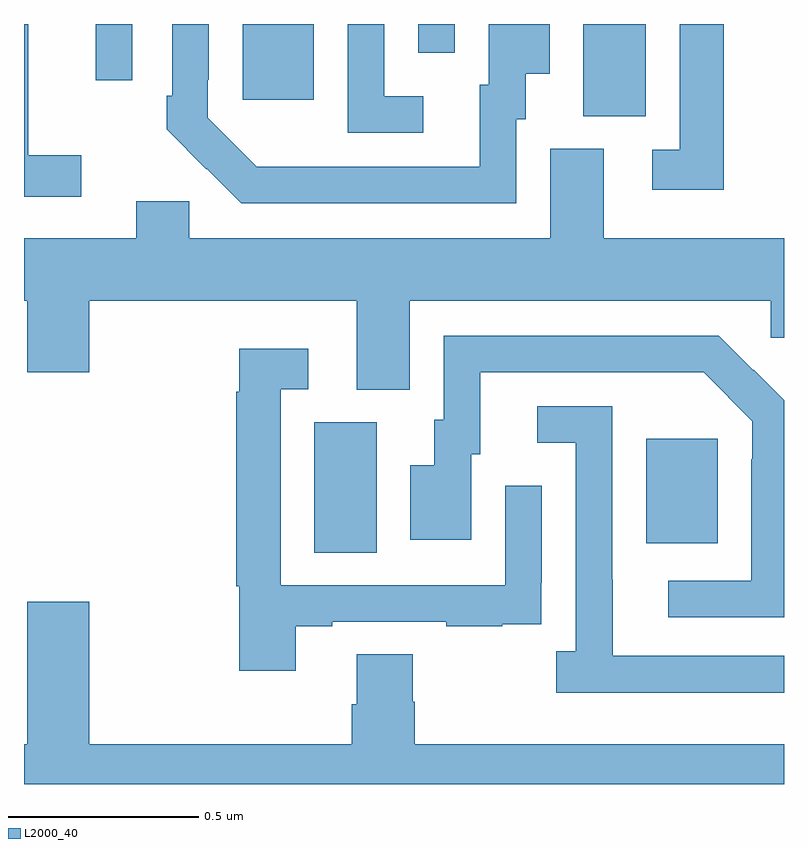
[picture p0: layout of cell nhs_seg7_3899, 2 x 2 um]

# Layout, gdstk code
import gdstk
lib = gdstk.Library(unit=1e-6, precision=1e-09)
def R(c, l, rs):  # rectangles x0, y0, x1, y1
    for r in rs: c.add(gdstk.rectangle(r[:2], r[2:], *l))
def P(c, l, *ps):  # polygons
    for p in ps: c.add(gdstk.Polygon(p, *l))
L2000_40 = (2000, 40)

nhs_seg7_3899 = lib.new_cell('nhs_seg7_3899')
R(nhs_seg7_3899, L2000_40, [(165.764,1010.608,165.928,1010.952), (166.637,1010.633,166.825,1010.908), (166.472,1011.757,166.636,1012), (165.575,1011.801,165.763,1012), (165.189,1011.852,165.285,1012), (166.038,1011.924,166.134,1012)])
P(nhs_seg7_3899, L2000_40, [(166.051,1011.81),(165.948,1011.81),(165.948,1012),(165.852,1012),(165.852,1011.714),(166.051,1011.714)],
  [(166.296,1011.75),(166.321,1011.75),(166.321,1011.869),(166.384,1011.869),(166.384,1012),(166.223,1012),(166.223,1011.84),(166.199,1011.84),(166.199,1011.624),(165.715,1011.624),(165.715,1011.625),(165.612,1011.625),(165.483,1011.753),(165.483,1011.853),(165.486,1011.853),(165.486,1012),(165.39,1012),(165.39,1011.811),(165.375,1011.811),(165.375,1011.723),(165.48,1011.618),(165.481,1011.619),(165.572,1011.528),(166.296,1011.528)],
  [(166.841,1012),(166.725,1012),(166.725,1011.669),(166.653,1011.669),(166.653,1011.564),(166.841,1011.564)],
  [(165.151,1011.655),(165.011,1011.655),(165.011,1012),(165,1012),(165,1011.546),(165.151,1011.546)],
  [(166.015,1011.272),(166.965,1011.272),(166.965,1011.174),(167,1011.174),(167,1011.436),(166.525,1011.436),(166.525,1011.672),(166.385,1011.672),(166.385,1011.436),(165.435,1011.436),(165.435,1011.534),(165.296,1011.534),(165.296,1011.436),(165,1011.436),(165,1011.272),(165.008,1011.272),(165.008,1011.084),(165.172,1011.084),(165.172,1011.272),(165.875,1011.272),(165.875,1011.037),(166.015,1011.037)],
  [(167,1011.01),(166.92,1011.09),(166.919,1011.089),(166.828,1011.18),(166.104,1011.18),(166.104,1010.958),(166.079,1010.958),(166.079,1010.839),(166.016,1010.839),(166.016,1010.643),(166.177,1010.643),(166.177,1010.868),(166.201,1010.868),(166.201,1011.084),(166.789,1011.084),(166.917,1010.955),(166.917,1010.855),(166.914,1010.855),(166.914,1010.535),(166.695,1010.535),(166.695,1010.439),(167,1010.439)],
  [(165.715,1010.415),(165.811,1010.415),(165.811,1010.427),(166.111,1010.427),(166.111,1010.415),(166.259,1010.415),(166.259,1010.421),(166.361,1010.421),(166.361,1010.53),(166.362,1010.53),(166.362,1010.785),(166.266,1010.785),(166.266,1010.523),(165.675,1010.523),(165.675,1011.039),(165.748,1011.039),(165.748,1011.145),(165.567,1011.145),(165.567,1011.032),(165.559,1011.032),(165.559,1010.52),(165.567,1010.52),(165.567,1010.298),(165.715,1010.298)],
  [(167,1010.337),(166.549,1010.337),(166.549,1010.537),(166.548,1010.537),(166.548,1010.994),(166.35,1010.994),(166.35,1010.898),(166.452,1010.898),(166.452,1010.35),(166.401,1010.35),(166.401,1010.24),(167,1010.24)],
  [(167,1010.104),(166.028,1010.104),(166.028,1010.217),(166.023,1010.217),(166.023,1010.342),(165.875,1010.342),(165.875,1010.21),(165.863,1010.21),(165.863,1010.104),(165.172,1010.104),(165.172,1010.479),(165.008,1010.479),(165.008,1010.104),(165,1010.104),(165,1010),(167,1010)])

lib.write_gds('nhs_seg7_3899.gds')
